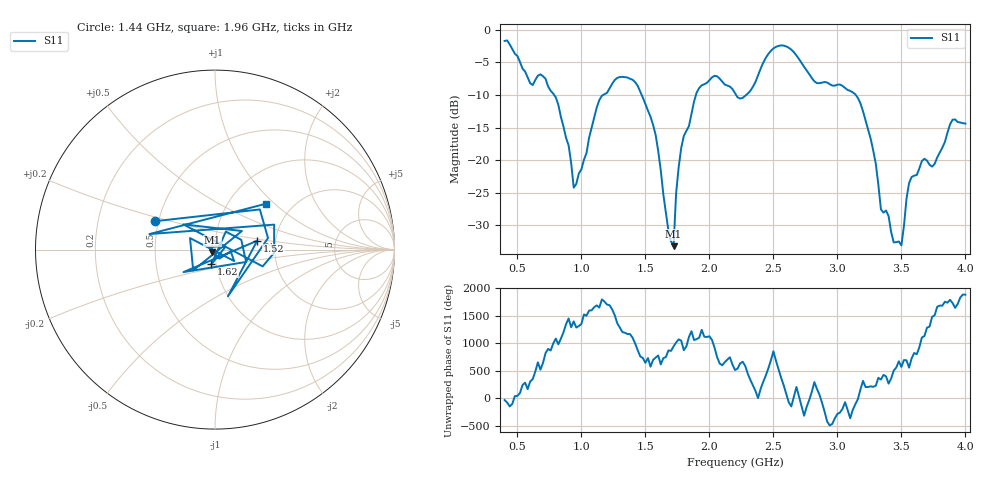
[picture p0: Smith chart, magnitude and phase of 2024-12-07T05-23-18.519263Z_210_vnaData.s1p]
!Created with skrf (http://scikit-rf.org).
# Hz S RI R 50.0
!freq ReS11 ImS11
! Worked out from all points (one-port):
!   181 points, 400 MHz to 4 GHz, reference 50 ohm
!   lowest |S11| = -33.2 dB at 1.72 GHz (marker M1), VSWR 1.04, Z = 48.4 - j1.49 ohm
!   |S11| at or under -10 dB: 787.5 MHz to 1.17 GHz (382.1 MHz wide, 39.1 % of centre); 1.471 GHz to 1.895 GHz (423.4 MHz wide, 25.2 % of centre); 3.144 GHz to end of sweep (the widest 3 of 4)
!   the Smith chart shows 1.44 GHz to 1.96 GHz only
!   S11 on the Smith chart (normalised r, x): 1.44 GHz: 0.48, +0.17; 1.52 GHz: 1.60, +0.17; 1.62 GHz: 0.95, -0.16; 1.96 GHz: 1.48, +0.89
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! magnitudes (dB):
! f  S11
! 400 MHz  -1.7
! 600 MHz  -8.2
! 720 MHz  -7.5
! 860 MHz  -14.8
! 940 MHz  -24.2
! 1.14 GHz  -10.8
! 1.3 GHz  -7.2
! 1.44 GHz  -8.6
! 1.52 GHz  -12.4
! 1.62 GHz  -21.5
! 1.72 GHz  -33.2
! 1.76 GHz  -21.1
! 1.9 GHz  -9.6
! 1.96 GHz  -8.3
! 2.2 GHz  -9.7
! 2.32 GHz  -9.4
! 2.5 GHz  -2.8
! 2.66 GHz  -3.4
! 3.1 GHz  -9.4
! 3.2 GHz  -12.5
! 3.3 GHz  -20.6
! 3.34 GHz  -27.5
! 3.44 GHz  -32.6
! 3.5 GHz  -33.1
! 3.56 GHz  -23.5
! 3.76 GHz  -20.6
! 3.9 GHz  -13.8
! 4 GHz  -14.4
